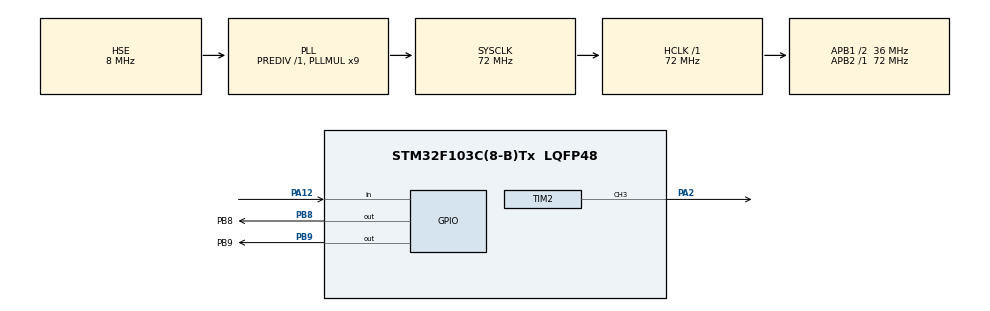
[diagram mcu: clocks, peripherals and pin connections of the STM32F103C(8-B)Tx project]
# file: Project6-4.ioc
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Mcu.Family=STM32F1
Mcu.Name=STM32F103C(8-B)Tx
Mcu.Package=LQFP48
NVIC.PriorityGroup=NVIC_PRIORITYGROUP_4
PA12.GPIO_PuPd=GPIO_PULLUP
PA12.Signal=GPIO_Input
PA13.Mode=Serial_Wire
PA13.Signal=SYS_JTMS-SWDIO
PA14.Mode=Serial_Wire
PA14.Signal=SYS_JTCK-SWCLK
PA2.Signal=S_TIM2_CH3
PB8.GPIO_Label=PB8
PB8.GPIO_ModeDefaultOutputPP=GPIO_MODE_OUTPUT_OD
PB8.GPIO_PuPd=GPIO_NOPULL
PB8.Signal=GPIO_Output
PB9.GPIO_Label=PB9
PB9.GPIO_ModeDefaultOutputPP=GPIO_MODE_OUTPUT_OD
PB9.GPIO_PuPd=GPIO_NOPULL
PB9.Signal=GPIO_Output
PC14-OSC32_IN.Mode=LSE-External-Oscillator
PC14-OSC32_IN.Signal=RCC_OSC32_IN
PC15-OSC32_OUT.Mode=LSE-External-Oscillator
PC15-OSC32_OUT.Signal=RCC_OSC32_OUT
PD0-OSC_IN.Mode=HSE-External-Oscillator
PD0-OSC_IN.Signal=RCC_OSC_IN
PD1-OSC_OUT.Mode=HSE-External-Oscillator
PD1-OSC_OUT.Signal=RCC_OSC_OUT
ProjectManager.HeapSize=0x200
ProjectManager.StackSize=0x400
ProjectManager.TargetToolchain=MDK-ARM V5.32
RCC.AHBFreq_Value=72000000
RCC.APB1CLKDivider=RCC_HCLK_DIV2
RCC.APB1Freq_Value=36000000
RCC.APB1TimFreq_Value=72000000
RCC.APB2Freq_Value=72000000
RCC.APB2TimFreq_Value=72000000
RCC.HCLKFreq_Value=72000000
RCC.PLLMUL=RCC_PLL_MUL9
RCC.PLLSourceVirtual=RCC_PLLSOURCE_HSE
RCC.SYSCLKFreq_VALUE=72000000
RCC.SYSCLKSource=RCC_SYSCLKSOURCE_PLLCLK
RCC.USBFreq_Value=72000000
SH.S_TIM2_CH3.0=TIM2_CH3,PWM Generation3 CH3
TIM2.AutoReloadPreload=TIM_AUTORELOAD_PRELOAD_ENABLE
TIM2.Channel-PWM\ Generation3\ CH3=TIM_CHANNEL_3
TIM2.Period=20000-1
TIM2.Prescaler=72-1
TIM2.Pulse-PWM\ Generation3\ CH3=500
VP_TIM2_VS_ClockSourceINT.Mode=Internal
board=custom

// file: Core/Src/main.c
/* USER CODE BEGIN Header */
/**
  ******************************************************************************
  * @file           : main.c
  * @brief          : Main program body
  ******************************************************************************
  * @attention
  *
  * Copyright (c) 2025 STMicroelectronics.
  * All rights reserved.
  *
  * This software is licensed under terms that can be found in the LICENSE file
  * in the root directory of this software component.
  * If no LICENSE file comes with this software, it is provided AS-IS.
  *
  ******************************************************************************
  */
/* USER CODE END Header */
#include "main.h"
#include "tim.h"
#include "gpio.h"

/* USER CODE BEGIN Includes */
#include "OLED.h"
/* USER CODE END Includes */

/* USER CODE BEGIN PV */
uint16_t Angle = 0;
/* USER CODE END PV */

void SystemClock_Config(void);

int main(void)
{

  /* MCU Configuration--------------------------------------------------------*/

  /* Reset of all peripherals, Initializes the Flash interface and the Systick. */
  HAL_Init();

  /* Configure the system clock */
  SystemClock_Config();

  /* Initialize all configured peripherals */
  MX_GPIO_Init();
  MX_TIM2_Init();
  /* USER CODE BEGIN 2 */
  // 先在cubemx中将TIM2的channel3设置成PWM输出模式
  // 按照之前的项目的办法配置OLED相关引脚
  // 将按键的引脚PA12设置成GPIO_input模式并且设置成上拉输入
  // OLED 和 PWM输出 初始化
  OLED_Init();
  HAL_TIM_PWM_Start(&htim2,TIM_CHANNEL_3);
  OLED_Clear();     // 清屏
  OLED_ShowString(1,1,"Angle:");   //一行一列显示Angle：
  /* USER CODE END 2 */

  /* Infinite loop */
  /* USER CODE BEGIN WHILE */
  while (1)
  {
	if(HAL_GPIO_ReadPin(GPIOA,GPIO_PIN_12) == GPIO_PIN_RESET)// 按键按下
	{
		HAL_Delay(20);// 消抖
		while(HAL_GPIO_ReadPin(GPIOA,GPIO_PIN_12) == GPIO_PIN_RESET);// 等待按键释放
		HAL_Delay(20);// 消抖
		Angle += 30;  // 角度增加
		if(Angle > 180)// 限制角度范围
			Angle = 0;
	}
	// 计算输出PWM信号
	__HAL_TIM_SET_COMPARE(&htim2,TIM_CHANNEL_3,Angle * (htim2.Init.Period + 1)/1800 +(htim2.Init.Period + 1)/40);
	OLED_ShowNum(1,7,Angle,3);// 显示当前Angle值
    /* USER CODE END WHILE */

  }
}

void SystemClock_Config(void)
{
  RCC_OscInitTypeDef RCC_OscInitStruct = {0};
  RCC_ClkInitTypeDef RCC_ClkInitStruct = {0};

  /** Initializes the RCC Oscillators according to the specified parameters
  * in the RCC_OscInitTypeDef structure.
  */
  RCC_OscInitStruct.OscillatorType = RCC_OSCILLATORTYPE_HSE;
  RCC_OscInitStruct.HSEState = RCC_HSE_ON;
  RCC_OscInitStruct.HSEPredivValue = RCC_HSE_PREDIV_DIV1;
  RCC_OscInitStruct.HSIState = RCC_HSI_ON;
  RCC_OscInitStruct.PLL.PLLState = RCC_PLL_ON;
  RCC_OscInitStruct.PLL.PLLSource = RCC_PLLSOURCE_HSE;
  RCC_OscInitStruct.PLL.PLLMUL = RCC_PLL_MUL9;
  if (HAL_RCC_OscConfig(&RCC_OscInitStruct) != HAL_OK)
  {
    Error_Handler();
  }

  /** Initializes the CPU, AHB and APB buses clocks
  */
  RCC_ClkInitStruct.ClockType = RCC_CLOCKTYPE_HCLK|RCC_CLOCKTYPE_SYSCLK
                              |RCC_CLOCKTYPE_PCLK1|RCC_CLOCKTYPE_PCLK2;
  RCC_ClkInitStruct.SYSCLKSource = RCC_SYSCLKSOURCE_PLLCLK;
  RCC_ClkInitStruct.AHBCLKDivider = RCC_SYSCLK_DIV1;
  RCC_ClkInitStruct.APB1CLKDivider = RCC_HCLK_DIV2;
  RCC_ClkInitStruct.APB2CLKDivider = RCC_HCLK_DIV1;

  if (HAL_RCC_ClockConfig(&RCC_ClkInitStruct, FLASH_LATENCY_2) != HAL_OK)
  {
    Error_Handler();
  }
}

void Error_Handler(void)
{
  __disable_irq();
  while (1)
  {
  }
}
